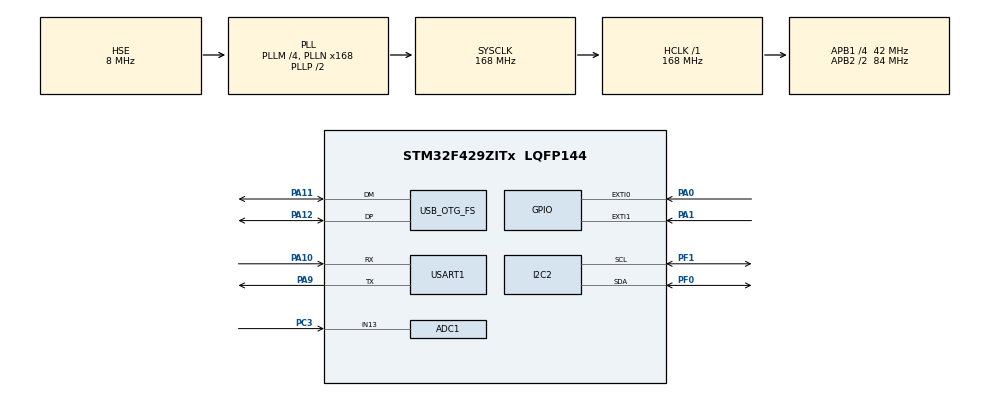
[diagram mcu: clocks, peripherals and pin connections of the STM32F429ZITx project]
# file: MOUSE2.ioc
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Mcu.Family=STM32F4
USB_DEVICE.CLASS_NAME_FS=CUSTOM_HID
VP_SYS_VS_tim6.Mode=TIM6
RCC.CortexFreq_Value=168000000
NVIC.TIM6_DAC_IRQn=true\:0\:0\:false\:false\:true\:false\:false\:true
VP_USB_DEVICE_VS_USB_DEVICE_CUSTOM_HID_FS.Mode=CUSTOM_HID_FS
PA11.Mode=Device_Only
PA0/WKUP.Signal=GPXTI0
RCC.SYSCLKSource=RCC_SYSCLKSOURCE_PLLCLK
ProjectManager.StackSize=0x600
VP_FREERTOS_VS_CMSIS_V2.Mode=CMSIS_V2
NVIC.EXTI1_IRQn=true\:5\:0\:false\:false\:true\:true\:true\:true
PA12.Signal=USB_OTG_FS_DP
PH0/OSC_IN.Mode=HSE-External-Clock-Source
RCC.HCLKFreq_Value=168000000
RCC.APB2TimFreq_Value=168000000
Dma.ADC1.0.Direction=DMA_PERIPH_TO_MEMORY
PH1/OSC_OUT.Signal=RCC_OSC_OUT
PC3.Signal=ADCx_IN13
NVIC.DMA2_Stream0_IRQn=true\:5\:0\:false\:false\:true\:true\:false\:true
PA1.GPIO_PuPd=GPIO_PULLUP
Dma.ADC1.0.MemDataAlignment=DMA_MDATAALIGN_WORD
RCC.AHBFreq_Value=168000000
RCC.HSE_VALUE=8000000
PB3.Mode=Trace_Asynchronous_SW
TIM8.Channel-Output\ Compare1\ No\ Output=TIM_CHANNEL_1
PA14.Mode=Trace_Asynchronous_SW
Dma.ADC1.0.PeriphInc=DMA_PINC_DISABLE
PA0/WKUP.GPIO_ModeDefaultEXTI=GPIO_MODE_IT_RISING
PH1/OSC_OUT.Mode=HSE-External-Clock-Source
Mcu.Package=LQFP144
NVIC.TimeBase=TIM6_DAC_IRQn
NVIC.OTG_FS_IRQn=true\:5\:0\:false\:false\:true\:true\:false\:true
NVIC.TimeBaseIP=TIM6
PA10.Signal=USART1_RX
USB_OTG_FS.VirtualMode=Device_Only
TIM8.Prescaler=168-1
RCC.APB2CLKDivider=RCC_HCLK_DIV2
RCC.APB1TimFreq_Value=84000000
Dma.ADC1.0.FIFOMode=DMA_FIFOMODE_DISABLE
PF0.Signal=I2C2_SDA
Dma.Request0=ADC1
PA1.GPIO_ModeDefaultEXTI=GPIO_MODE_IT_FALLING
SH.ADCx_IN13.0=ADC1_IN13,IN13
Dma.ADC1.0.Instance=DMA2_Stream0
FREERTOS.Tasks01=defaultTask,24,128,StartDefaultTask,Default,NULL,Dynamic,NULL,NULL
PA10.Mode=Asynchronous
USB_DEVICE.VirtualModeFS=Custom_Hid_FS
RCC.APB1CLKDivider=RCC_HCLK_DIV4
PA13.Signal=SYS_JTMS-SWDIO
PF1.Mode=I2C
Dma.ADC1.0.PeriphDataAlignment=DMA_PDATAALIGN_WORD
PA9.Mode=Asynchronous
ProjectManager.TargetToolchain=STM32CubeIDE
Dma.ADC1.0.Mode=DMA_CIRCULAR
Dma.ADC1.0.Priority=DMA_PRIORITY_LOW
PA9.Signal=USART1_TX
ADC1.Channel-1\#ChannelRegularConversion=ADC_CHANNEL_13
VP_TIM8_VS_ClockSourceINT.Mode=Internal
RCC.LSE_VALUE=32768
PA1.Signal=GPXTI1
VP_TIM8_VS_no_output1.Mode=Output Compare1 No Output
board=STM32F429I-DISC1
RCC.VCOOutputFreq_Value=336000000
PH0/OSC_IN.Signal=RCC_OSC_IN
RCC.APB2Freq_Value=84000000
ADC1.DMAContinuousRequests=ENABLE
PF1.Signal=I2C2_SCL
PA0/WKUP.GPIO_PuPd=GPIO_NOPULL
PA13.Mode=Trace_Asynchronous_SW
Mcu.Name=STM32F429ZITx
ADC1.ExternalTrigConv=ADC_EXTERNALTRIGCONV_T8_TRGO
RCC.48MHZClocksFreq_Value=48000000
PB3.Signal=SYS_JTDO-SWO
NVIC.EXTI0_IRQn=true\:5\:0\:false\:false\:true\:true\:true\:true
ADC1.SamplingTime-1\#ChannelRegularConversion=ADC_SAMPLETIME_3CYCLES
RCC.SYSCLKFreq_VALUE=168000000
ADC1.master=1
PA12.Mode=Device_Only
TIM8.TIM_MasterOutputTrigger=TIM_TRGO_UPDATE
USB_DEVICE.VirtualMode-CUSTOM_HID_FS=CustomHid
USART1.VirtualMode=VM_ASYNC
ADC1.Rank-1\#ChannelRegularConversion=1
PA11.Signal=USB_OTG_FS_DM
Dma.ADC1.0.MemInc=DMA_MINC_ENABLE
PA14.Signal=SYS_JTCK-SWCLK
ProjectManager.HeapSize=0x600
PF0.Mode=I2C
RCC.HSI_VALUE=16000000
RCC.PLLQ=7
NVIC.PriorityGroup=NVIC_PRIORITYGROUP_4
ADC1.NbrOfConversionFlag=1
RCC.PLLM=4
RCC.PLLN=168
RCC.APB1Freq_Value=42000000

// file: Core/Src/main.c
/* USER CODE BEGIN Header */
/**
  ******************************************************************************
  * @file           : main.c
  * @brief          : Main program body
  ******************************************************************************
  * @attention
  *
  * <h2><center>&copy; Copyright (c) 2021 STMicroelectronics.
  * All rights reserved.</center></h2>
  *
  * This software component is licensed by ST under BSD 3-Clause license,
  * the "License"; You may not use this file except in compliance with the
  * License. You may obtain a copy of the License at:
  *                        opensource.org/licenses/BSD-3-Clause
  *
  ******************************************************************************
  */
/* USER CODE END Header */
#include "main.h"
#include "cmsis_os.h"
#include "adc.h"
#include "dma.h"
#include "i2c.h"
#include "tim.h"
#include "usart.h"
#include "usb_device.h"
#include "gpio.h"

/* USER CODE BEGIN Includes */
#include "MPU6050.h"
#include <stdio.h>
#include "retarget.h"
#include <math.h>
#include "usbd_customhid.h"

/* USER CODE END Includes */

/* USER CODE BEGIN PTD */
extern USBD_HandleTypeDef hUsbDeviceFS;
/* USER CODE END PTD */

/* USER CODE BEGIN PM */
#define IMU_Flag_BIT			0x01u
#define JOY_Flag_BIT			0x02u

/* USER CODE END PM */

/* USER CODE BEGIN PV */
int8_t 	 USBbuffer[4] ; /* the HID endpoint descriptor only define as 4 byte boot mode  */
int32_t JOYRes ;

/* volatile force the compiler to read every time because this variable is modified through ISR */
volatile union {
	struct {
	uint8_t LeftButton     : 1 ;
	uint8_t RightButton    : 1 ;
	uint8_t MiddleButton   : 1 ;
	uint8_t VendorSpecific : 5 ; /* left for vendor specification */
	}Buttons;
	uint8_t AllBits  ;
}MouseButtons;

uint8_t arr_cong[8] = {MPU6050_SMPLRT_DIV_R,0x07, MPU6050_PWR_MGMT_1_R,0x01, MPU6050_GYRO_CONFIG_R,0,MPU6050_ACCEL_CONFIG_R,0x18};

int8_t  X_Axis , Y_Axis ,MouseWheel;

/* USER CODE END PV */

void SystemClock_Config(void);
void MX_FREERTOS_Init(void);

/* USER CODE BEGIN 0 */

osSemaphoreId_t	IMUSemaHandle;
const osSemaphoreAttr_t IMUSema_attributes = {
		/* set name for debugging information */
  .name = "IMUSemaphore"
};

osSemaphoreId_t	JOYSemaHandle;
const osSemaphoreAttr_t JOYSema_attributes = {
		/* set name for debugging information */
  .name = "JOYSemaphore"
};

osThreadId_t MainTaskHandle;
const osThreadAttr_t MainTasK_Attr ;

osThreadId_t IMUTaskHandle;
const osThreadAttr_t IMUTasK_Attr ;

osThreadId_t JOYTaskHandle;
const osThreadAttr_t JOYTasK_Attr ;

osEventFlagsId_t Main_TaskEvents ;
const osEventFlagsAttr_t Main_TaskEventAttr ={.name =" Main_TaskEventAttr "} ;

void MainTask_Fun(void * arg);
void IMUTask_Fun(void * arg);
void JOYTask_Fun(void * arg);

/* USER CODE END 0 */

int main(void)
{
  /* USER CODE BEGIN 1 */
	 osThreadAttr_t * TasK_Attr ;
  /* USER CODE END 1 */

  /* MCU Configuration--------------------------------------------------------*/

  /* Reset of all peripherals, Initializes the Flash interface and the Systick. */
  HAL_Init();

  /* USER CODE BEGIN Init */

   TasK_Attr =  &MainTasK_Attr; /* two way to initialize constant var but i used the pointer method */

    TasK_Attr->name = "MainTask";
    TasK_Attr->stack_size = 256 * 4;
  	TasK_Attr->priority = (osPriority_t) osPriorityHigh; /* only the other task run when enter block state */

  	TasK_Attr =  &IMUTasK_Attr;

  	TasK_Attr->name = "IMUTask";
  	TasK_Attr->stack_size = 256 * 4;
	TasK_Attr->priority = (osPriority_t) osPriorityAboveNormal1;

  	TasK_Attr =  &JOYTasK_Attr ;

  	TasK_Attr->name = "JOYTask";
  	TasK_Attr->stack_size = 256 * 4;
	TasK_Attr->priority = (osPriority_t) osPriorityAboveNormal;

	MainTaskHandle = osThreadNew(MainTask_Fun, NULL, &MainTasK_Attr);

	IMUTaskHandle = osThreadNew(IMUTask_Fun, NULL, &IMUTasK_Attr);

	JOYTaskHandle = osThreadNew(JOYTask_Fun, NULL, &JOYTasK_Attr);

	IMUSemaHandle = osSemaphoreNew(1, 0, &IMUSema_attributes);

	JOYSemaHandle = osSemaphoreNew(1, 0, &JOYSema_attributes);

	Main_TaskEvents = osEventFlagsNew(&Main_TaskEventAttr);

  /* USER CODE END Init */

  /* Configure the system clock */
  SystemClock_Config();

  /* Initialize all configured peripherals */
  MX_GPIO_Init();
  MX_DMA_Init();
  MX_TIM8_Init();
  MX_I2C2_Init();
  MX_USART1_UART_Init();
  MX_ADC1_Init();
  /* USER CODE BEGIN 2 */

  /* start timer 8 to work as trigger for ADC conversion */
  HAL_TIM_Base_Start(&htim8);

  /* start ADC and initialize it to work with DMA mode */
  HAL_ADC_Start_DMA(&hadc1,&JOYRes, 1);

  /* register timer handler to work with stdio system calls */
  RetargetInit(&huart1 );

  /* set configurations for MPU6050 */
  MPU6050_SET_Config(arr_cong ,sizeof(arr_cong));
  /* USER CODE END 2 */

  /* Init scheduler */
  osKernelInitialize();  /* Call init function for freertos objects (in freertos.c) */
  MX_FREERTOS_Init();
  /* Start scheduler */
  osKernelStart();

  /* We should never get here as control is now taken by the scheduler */
  /* Infinite loop */
  while (1)
  {

  }
}

void SystemClock_Config(void)
{
  RCC_OscInitTypeDef RCC_OscInitStruct = {0};
  RCC_ClkInitTypeDef RCC_ClkInitStruct = {0};

  /** Configure the main internal regulator output voltage
  */
  __HAL_RCC_PWR_CLK_ENABLE();
  __HAL_PWR_VOLTAGESCALING_CONFIG(PWR_REGULATOR_VOLTAGE_SCALE1);
  /** Initializes the RCC Oscillators according to the specified parameters
  * in the RCC_OscInitTypeDef structure.
  */
  RCC_OscInitStruct.OscillatorType = RCC_OSCILLATORTYPE_HSE;
  RCC_OscInitStruct.HSEState = RCC_HSE_BYPASS;
  RCC_OscInitStruct.PLL.PLLState = RCC_PLL_ON;
  RCC_OscInitStruct.PLL.PLLSource = RCC_PLLSOURCE_HSE;
  RCC_OscInitStruct.PLL.PLLM = 4;
  RCC_OscInitStruct.PLL.PLLN = 168;
  RCC_OscInitStruct.PLL.PLLP = RCC_PLLP_DIV2;
  RCC_OscInitStruct.PLL.PLLQ = 7;
  if (HAL_RCC_OscConfig(&RCC_OscInitStruct) != HAL_OK)
  {
    Error_Handler();
  }
  /** Initializes the CPU, AHB and APB buses clocks
  */
  RCC_ClkInitStruct.ClockType = RCC_CLOCKTYPE_HCLK|RCC_CLOCKTYPE_SYSCLK
                              |RCC_CLOCKTYPE_PCLK1|RCC_CLOCKTYPE_PCLK2;
  RCC_ClkInitStruct.SYSCLKSource = RCC_SYSCLKSOURCE_PLLCLK;
  RCC_ClkInitStruct.AHBCLKDivider = RCC_SYSCLK_DIV1;
  RCC_ClkInitStruct.APB1CLKDivider = RCC_HCLK_DIV4;
  RCC_ClkInitStruct.APB2CLKDivider = RCC_HCLK_DIV2;

  if (HAL_RCC_ClockConfig(&RCC_ClkInitStruct, FLASH_LATENCY_5) != HAL_OK)
  {
    Error_Handler();
  }
}

/* USER CODE BEGIN 4 */

void HAL_GPIO_EXTI_Callback(uint16_t GPIO_Pin)
{

	  if (GPIO_Pin == GPIO_PIN_1) /* if GPIOA pin1 left button */
	  {
		  MouseButtons.Buttons.LeftButton = 1;
	  }
	  if(GPIO_Pin == GPIO_PIN_0)/* if GPIOA pin0 right button */
	  {
		  MouseButtons.Buttons.RightButton = 1;
	  }

}

void MainTask_Fun(void * arg)
{
	const TickType_t xDelayTicks = 1 / portTICK_PERIOD_MS; /* calculate the number of ticks that generate 1Ms delay*/

	while(1)
	{
		USBbuffer[0] = MouseButtons.AllBits ;
		USBbuffer[1] = X_Axis;
		USBbuffer[2] = Y_Axis;
		USBbuffer[3] = MouseWheel;

		  USBD_CUSTOM_HID_SendReport(&hUsbDeviceFS, USBbuffer, 4);

		  MouseButtons.AllBits = 0 ;
		  X_Axis = 0 ;
		  Y_Axis= 0 ;
		  MouseWheel= 0 ;

			osDelay(xDelayTicks);  /* make some delay */

			osSemaphoreRelease(JOYSemaHandle);
			osSemaphoreRelease(IMUSemaHandle);

			osEventFlagsWait(Main_TaskEvents, IMU_Flag_BIT | JOY_Flag_BIT , osFlagsWaitAll, osWaitForever);

	}

}

/* this task used to update X and Y axis */
void IMUTask_Fun(void * arg)
{
	MPU6050_ANGELS_t CurrentMeasure ={0} ;

	float TempX = 0,TempY = 0 ;	/* perform the operation on local var before access the global one */
	while(1)
	{

		  osSemaphoreAcquire(IMUSemaHandle , osWaitForever);

		  /* read IMU angles */
		Read_Accurate_Angles_ComplemantrayFilter(&CurrentMeasure);

		/*IMU angles from =-90 t0 90 but axis -128 to 127 but we need it to be more stable */
		TempX = (CurrentMeasure.GYRO_ANGLE_ROLL * 0.1)  ;
		TempY = (CurrentMeasure.GYRO_ANGLE_PITCH * 0.1) ;

			/* no need to protect these global variables because all tasks is synchronized so there is no concurrency access right now*/
			X_Axis  = TempX ;

			Y_Axis  = TempY ;

			/* print the measured angle through uart */
		printf("pitch = %0.2f  ,  Roll = %0.2f  , Yaw = %0.2f  \n",CurrentMeasure.GYRO_ANGLE_PITCH
				  	  	  	  	  	  	  	  	  	  	  ,CurrentMeasure.GYRO_ANGLE_ROLL
														  ,CurrentMeasure.GYRO_ANGLE_YAW);

		/* send notification to the main function my data is done */
		osEventFlagsSet(Main_TaskEvents, IMU_Flag_BIT);
	}

}

/* ADC work with DMA so data is update periodically */
void JOYTask_Fun(void * arg)
{
	while(1)
	{
		osSemaphoreAcquire(JOYSemaHandle , osWaitForever);
		MouseWheel = (JOYRes - 2048)/1000;
		osEventFlagsSet(Main_TaskEvents, JOY_Flag_BIT);

	}

}

/* USER CODE END 4 */

 /**
  * @brief  Period elapsed callback in non blocking mode
  * @note   This function is called  when TIM6 interrupt took place, inside
  * HAL_TIM_IRQHandler(). It makes a direct call to HAL_IncTick() to increment
  * a global variable "uwTick" used as application time base.
  * @param  htim : TIM handle
  * @retval None
  */
void HAL_TIM_PeriodElapsedCallback(TIM_HandleTypeDef *htim)
{
  if (htim->Instance == TIM6) {
    HAL_IncTick();
  }
}

void Error_Handler(void)
{
  __disable_irq();
  while (1)
  {
  }
}

/************************ (C) COPYRIGHT STMicroelectronics *****END OF FILE****/
